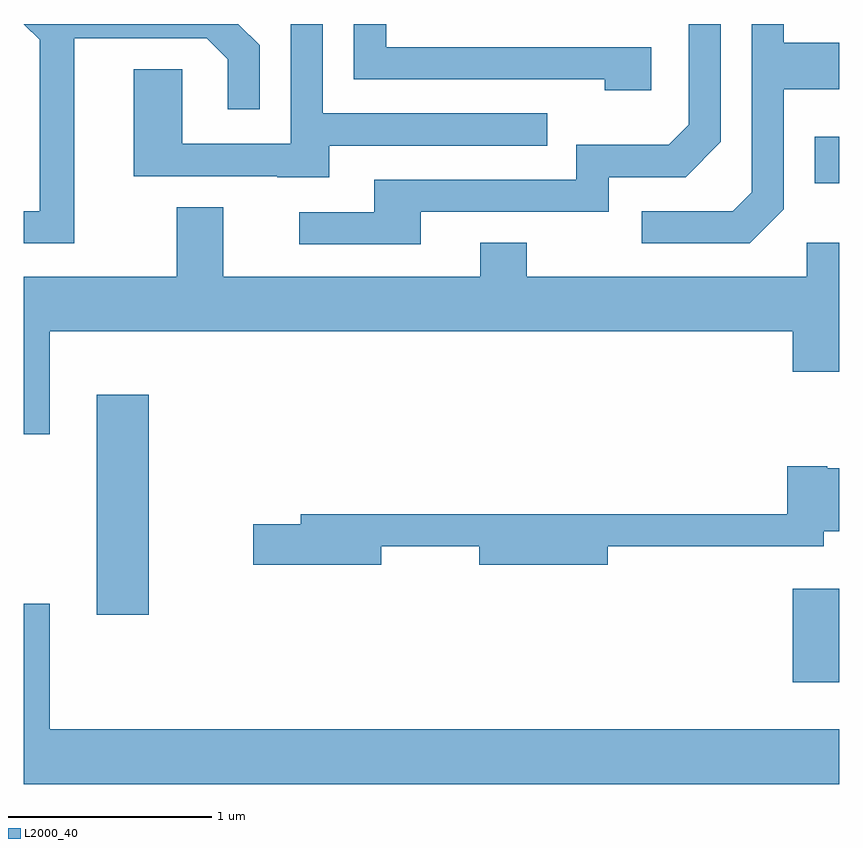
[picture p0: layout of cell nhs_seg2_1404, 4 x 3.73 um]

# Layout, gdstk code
import gdstk
lib = gdstk.Library(unit=1e-6, precision=1e-09)
def R(c, l, rs):  # rectangles x0, y0, x1, y1
    for r in rs: c.add(gdstk.rectangle(r[:2], r[2:], *l))
def P(c, l, *ps):  # polygons
    for p in ps: c.add(gdstk.Polygon(p, *l))
L2000_40 = (2000, 40)

nhs_seg2_1404 = lib.new_cell('nhs_seg2_1404')
R(nhs_seg2_1404, L2000_40, [(225.971,1066.906,226.224,1067.984), (229.491,1069.021,229.611,1069.249)])
P(nhs_seg2_1404, L2000_40, [(227.109,1069.206),(228.178,1069.206),(228.178,1069.364),(227.079,1069.364),(227.079,1069.802),(226.921,1069.802),(226.921,1069.214),(226.389,1069.214),(226.389,1069.579),(226.151,1069.579),(226.151,1069.056),(226.855,1069.056),(226.855,1069.051),(227.109,1069.051)],
  [(229.339,1068.894),(229.339,1069.481),(229.611,1069.481),(229.611,1069.709),(229.339,1069.709),(229.339,1069.802),(229.181,1069.802),(229.181,1068.977),(229.089,1068.884),(228.643,1068.884),(228.643,1068.726),(229.172,1068.726)],
  [(228.689,1069.689),(227.389,1069.689),(227.389,1069.802),(227.231,1069.802),(227.231,1069.531),(228.461,1069.531),(228.461,1069.476),(228.689,1069.476)],
  [(225.859,1069.731),(226.509,1069.731),(226.611,1069.629),(226.611,1069.383),(226.769,1069.383),(226.769,1069.697),(226.664,1069.802),(225.613,1069.802),(225.691,1069.724),(225.691,1068.884),(225.611,1068.884),(225.611,1068.726),(225.859,1068.726)],
  [(227.559,1068.881),(228.479,1068.881),(228.479,1069.051),(228.857,1069.051),(229.029,1069.224),(229.029,1069.802),(228.871,1069.802),(228.871,1069.307),(228.774,1069.209),(228.321,1069.209),(228.321,1069.039),(227.331,1069.039),(227.331,1068.879),(226.963,1068.879),(226.963,1068.721),(227.559,1068.721)],
  [(225.739,1068.296),(229.381,1068.296),(229.381,1068.096),(229.609,1068.096),(229.609,1068.296),(229.611,1068.296),(229.611,1068.729),(229.451,1068.729),(229.451,1068.564),(228.079,1068.564),(228.079,1068.729),(227.851,1068.729),(227.851,1068.564),(226.589,1068.564),(226.589,1068.904),(226.361,1068.904),(226.361,1068.564),(225.611,1068.564),(225.611,1067.791),(225.739,1067.791)],
  [(227.364,1067.241),(227.846,1067.241),(227.846,1067.151),(228.474,1067.151),(228.474,1067.241),(229.534,1067.241),(229.534,1067.316),(229.611,1067.316),(229.611,1067.624),(229.55,1067.624),(229.55,1067.634),(229.356,1067.634),(229.356,1067.399),(226.971,1067.399),(226.971,1067.349),(226.736,1067.349),(226.736,1067.151),(227.364,1067.151)],
  [(229.609,1066.876),(229.611,1066.876),(229.611,1067.034),(229.381,1067.034),(229.381,1066.576),(229.609,1066.576)],
  [(229.611,1066.344),(225.739,1066.344),(225.739,1066.959),(225.611,1066.959),(225.611,1066.076),(229.611,1066.076)])

lib.write_gds('nhs_seg2_1404.gds')
